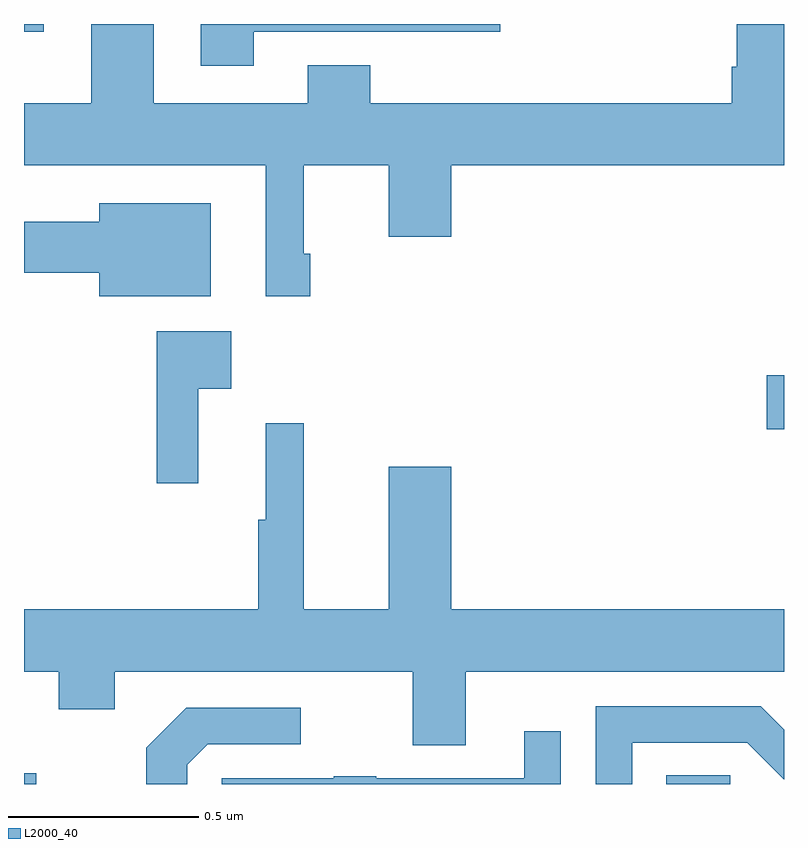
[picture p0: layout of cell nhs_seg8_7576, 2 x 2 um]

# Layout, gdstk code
import gdstk
lib = gdstk.Library(unit=1e-6, precision=1e-09)
def R(c, l, rs):  # rectangles x0, y0, x1, y1
    for r in rs: c.add(gdstk.rectangle(r[:2], r[2:], *l))
def P(c, l, *ps):  # polygons
    for p in ps: c.add(gdstk.Polygon(p, *l))
L2000_40 = (2000, 40)

nhs_seg8_7576 = lib.new_cell('nhs_seg8_7576')
R(nhs_seg8_7576, L2000_40, [(212,1086.9,212.032,1086.928), (213.69,1086.9,213.859,1086.923), (213.954,1087.834,214,1087.976), (212,1088.88,212.052,1088.9)])
P(nhs_seg8_7576, L2000_40, [(212.753,1088.296),(212.736,1088.296),(212.736,1088.528),(212.96,1088.528),(212.96,1088.34),(213.124,1088.34),(213.124,1088.528),(214,1088.528),(214,1088.9),(213.875,1088.9),(213.875,1088.788),(213.863,1088.788),(213.863,1088.692),(212.911,1088.692),(212.911,1088.791),(212.747,1088.791),(212.747,1088.692),(212.341,1088.692),(212.341,1088.899),(212.177,1088.899),(212.177,1088.692),(212,1088.692),(212,1088.528),(212.636,1088.528),(212.636,1088.184),(212.753,1088.184)],
  [(212.605,1088.88),(213.035,1088.88),(213.035,1088.879),(213.253,1088.879),(213.253,1088.9),(212.465,1088.9),(212.465,1088.79),(212.605,1088.79)],
  [(212.491,1088.428),(212.198,1088.428),(212.198,1088.38),(212,1088.38),(212,1088.246),(212.198,1088.246),(212.198,1088.183),(212.491,1088.183)],
  [(212.459,1087.94),(212.545,1087.94),(212.545,1088.092),(212.349,1088.092),(212.349,1087.692),(212.459,1087.692)],
  [(213.163,1087.196),(214,1087.196),(214,1087.36),(213.124,1087.36),(213.124,1087.735),(212.96,1087.735),(212.96,1087.36),(212.736,1087.36),(212.736,1087.849),(212.636,1087.849),(212.636,1087.596),(212.617,1087.596),(212.617,1087.36),(212,1087.36),(212,1087.196),(212.092,1087.196),(212.092,1087.097),(212.239,1087.097),(212.239,1087.196),(213.023,1087.196),(213.023,1087.002),(213.163,1087.002)],
  [(213.6,1087.008),(213.903,1087.008),(213.999,1086.912),(214,1086.912),(214,1087.043),(213.939,1087.104),(213.504,1087.104),(213.504,1086.9),(213.6,1086.9)],
  [(212.43,1086.951),(212.484,1087.005),(212.728,1087.005),(212.728,1087.101),(212.427,1087.101),(212.322,1086.995),(212.322,1086.9),(212.43,1086.9)],
  [(213.413,1087.039),(213.317,1087.039),(213.317,1086.915),(212.927,1086.915),(212.927,1086.92),(212.815,1086.92),(212.815,1086.915),(212.52,1086.915),(212.52,1086.9),(213.413,1086.9)])

lib.write_gds('nhs_seg8_7576.gds')
